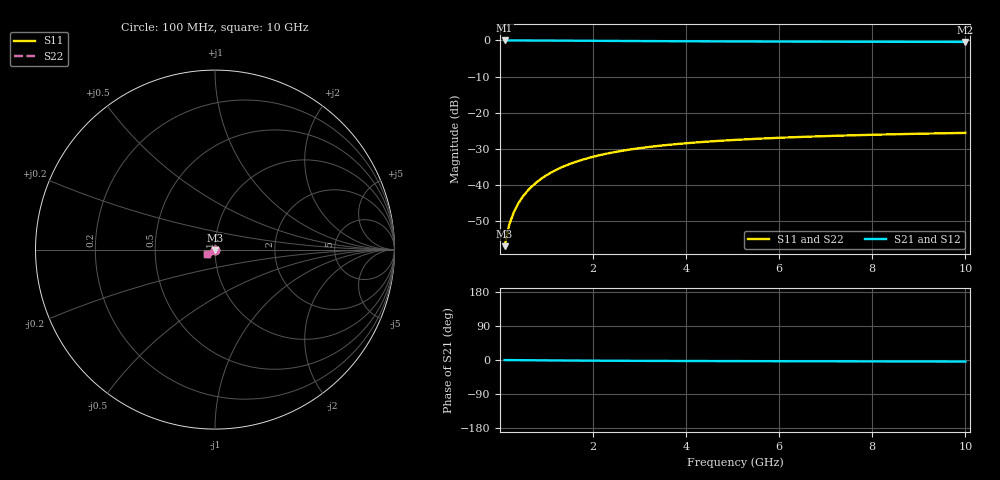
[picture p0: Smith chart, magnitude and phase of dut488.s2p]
! Touchstone file exported from HFSS 2024.1.0
!  File:  C:/UserFiles/LocalFiles/RDL_TSV_Batchsim/temp_TSV1_488_1779700217.aedt
!  Generated:  05:14:56 PM May 25, 2026
!  Design:  TSV1
!  Project:  temp_TSV1_488_1779700217
!  Setup:  Setup1
!  Solution:  Sweep
! Variables:
!  dtsv = 14.81um
!  hbump = 3um
!  htsv = 57.82um
!  lrdl = 252.1521522um
!  p = 40
!  p1 = 44.08um
!  t = 500um
!  trdl = 3um
!  wrdl = 24.89489489um
# GHz S MA R 50.000000
! Terminal data exported
! Port[1] = TSV22_T1
! Port[2] = TSV22_T2
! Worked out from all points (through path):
!   100 points, 100 MHz to 10 GHz, reference 50 ohm
!   highest |S21| = 0.00 dB at 100 MHz (marker M1); lowest = -0.4 dB at 10 GHz (marker M2)
!   lowest |S11| = -57.1 dB at 100 MHz (marker M3), VSWR 1.00, Z = 50 - j0.14 ohm
!   |S11| at or under -10 dB: start of sweep to end of sweep
!   |S22| runs from -57.1 to -25.6 dB; largest |S21 - S12| = 2.1e-15
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0.1  0.001401 -88.7  0.9999 -0.1  0.9999 -0.1  0.001401 -88.7
! Gamma 0 0 0 0
! Port Impedance 50 0 50 0
0.2  0.002798 -91.7  0.9998 -0.2  0.9998 -0.2  0.002798 -91.7
0.3  0.004191 -93.8  0.9996 -0.3  0.9996 -0.3  0.004191 -93.8
0.4  0.005575 -95.6  0.9993 -0.4  0.9993 -0.4  0.005575 -95.6
0.5  0.006948 -97.3  0.999 -0.5  0.999 -0.5  0.006948 -97.3
0.6  0.008304 -98.9  0.9986 -0.6  0.9986 -0.6  0.008304 -98.9
0.7  0.00964 -100.4  0.9981 -0.7  0.9981 -0.7  0.00964 -100.4
0.8  0.01095 -101.9  0.9976 -0.8  0.9976 -0.8  0.01095 -101.9
0.9  0.01224 -103.3  0.997 -0.9  0.997 -0.9  0.01224 -103.3
1.1  0.01473 -106.2  0.9957 -1.1  0.9957 -1.1  0.01473 -106.2
1.4  0.01823 -110.1  0.9935 -1.4  0.9935 -1.4  0.01823 -110.1
1.6  0.0204 -112.6  0.9919 -1.5  0.9919 -1.5  0.0204 -112.6
1.8  0.02243 -114.9  0.9903 -1.6  0.9903 -1.6  0.02243 -114.9
2.1  0.02523 -118.2  0.9879 -1.8  0.9879 -1.8  0.02523 -118.2
2.5  0.02853 -122.1  0.9847 -2.0  0.9847 -2.0  0.02853 -122.1
2.9  0.03139 -125.5  0.9817 -2.2  0.9817 -2.2  0.03139 -125.5
3.4  0.03445 -129.1  0.9783 -2.4  0.9783 -2.4  0.03445 -129.1
4.2  0.0384 -133.9  0.9734 -2.7  0.9734 -2.7  0.0384 -133.9
5.1  0.04188 -138.1  0.9689 -3.0  0.9689 -3.0  0.04188 -138.1
6.7  0.04643 -143.5  0.9627 -3.3  0.9627 -3.3  0.04643 -143.5
8.4  0.04985 -147.5  0.958 -3.7  0.958 -3.7  0.04985 -147.5
10  0.05221 -150.4  0.9547 -4.1  0.9547 -4.1  0.05221 -150.4
